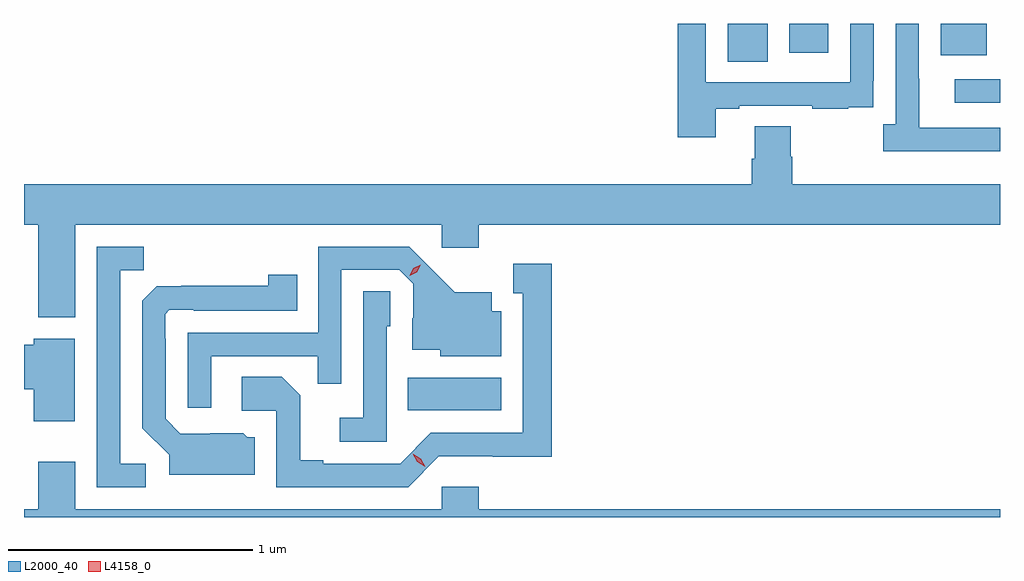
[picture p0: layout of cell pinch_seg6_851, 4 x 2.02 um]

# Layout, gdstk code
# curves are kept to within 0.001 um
import gdstk
lib = gdstk.Library(unit=1e-6, precision=1e-09)
def R(c, l, rs):  # rectangles x0, y0, x1, y1
    for r in rs: c.add(gdstk.rectangle(r[:2], r[2:], *l))
def P(c, l, *ps):  # polygons
    for p in ps: c.add(gdstk.Polygon(p, *l))
L2000_40 = (2000, 40)
L4158_0 = (4158, 0)

pinch_seg6_851 = lib.new_cell('pinch_seg6_851')
R(pinch_seg6_851, L2000_40, [(122.272,915.938,122.656,916.072), (124.515,917.199,124.7,917.295), (123.584,917.368,123.748,917.523), (124.457,917.393,124.645,917.523), (123.836,917.403,123.997,917.523)])
P(pinch_seg6_851, L2000_40, [(123.535,917.175),(123.631,917.175),(123.631,917.187),(123.931,917.187),(123.931,917.175),(124.079,917.175),(124.079,917.181),(124.181,917.181),(124.181,917.29),(124.182,917.29),(124.182,917.523),(124.086,917.523),(124.086,917.283),(123.495,917.283),(123.495,917.523),(123.379,917.523),(123.379,917.058),(123.535,917.058)],
  [(124.7,917.097),(124.369,917.097),(124.369,917.297),(124.368,917.297),(124.368,917.523),(124.272,917.523),(124.272,917.11),(124.221,917.11),(124.221,917),(124.7,917)],
  [(120.91,916.7),(122.412,916.7),(122.412,916.605),(122.564,916.605),(122.564,916.7),(124.7,916.7),(124.7,916.864),(123.848,916.864),(123.848,916.977),(123.843,916.977),(123.843,917.102),(123.695,917.102),(123.695,916.97),(123.683,916.97),(123.683,916.864),(120.7,916.864),(120.7,916.7),(120.758,916.7),(120.758,916.32),(120.91,916.32)],
  [(121.467,916.161),(121.903,916.161),(121.903,916.048),(122.001,916.048),(122.001,916.515),(122.238,916.515),(122.295,916.458),(122.295,916.316),(122.291,916.316),(122.291,916.187),(122.406,916.187),(122.406,916.16),(122.656,916.16),(122.656,916.345),(122.617,916.345),(122.617,916.423),(122.465,916.423),(122.278,916.608),(121.905,916.608),(121.905,916.257),(121.371,916.257),(121.371,915.948),(121.467,915.948)],
  [(121.198,915.72),(121.095,915.72),(121.095,916.513),(121.191,916.513),(121.191,916.608),(120.999,916.608),(120.999,915.624),(121.198,915.624)],
  [(122.4,915.75),(122.863,915.749),(122.863,916.54),(122.705,916.54),(122.705,916.419),(122.744,916.419),(122.744,915.846),(122.367,915.846),(122.241,915.72),(121.927,915.72),(121.927,915.733),(121.833,915.733),(121.833,916),(121.757,916.076),(121.593,916.076),(121.593,915.936),(121.734,915.936),(121.734,915.624),(122.274,915.624)],
  [(121.645,915.828),(121.614,915.828),(121.598,915.844),(121.341,915.843),(121.281,915.903),(121.281,916.232),(121.278,916.232),(121.278,916.332),(121.296,916.35),(121.396,916.35),(121.396,916.347),(121.82,916.347),(121.82,916.495),(121.702,916.495),(121.702,916.448),(121.244,916.447),(121.185,916.388),(121.185,915.866),(121.295,915.756),(121.295,915.674),(121.645,915.674)],
  [(122.187,916.284),(122.202,916.284),(122.202,916.427),(122.091,916.427),(122.091,915.907),(121.995,915.907),(121.995,915.81),(122.187,915.81)],
  [(120.907,916.231),(120.74,916.231),(120.74,916.208),(120.7,916.208),(120.7,916.025),(120.74,916.025),(120.74,915.894),(120.907,915.894)],
  [(124.7,915.532),(122.564,915.532),(122.564,915.625),(122.412,915.625),(122.412,915.532),(120.91,915.532),(120.91,915.727),(120.758,915.727),(120.758,915.532),(120.7,915.532),(120.7,915.5),(124.7,915.5)])
P(pinch_seg6_851, L4158_0, [(122.344,915.708),(122.312,915.727),(122.294,915.76),(122.294,915.76),(122.294,915.76),(122.326,915.741),(122.344,915.708),(122.344,915.708)],
  [(122.28,916.49),(122.28,916.49),(122.296,916.52),(122.327,916.535),(122.327,916.535),(122.327,916.535),(122.31,916.505),(122.28,916.49)])

lib.write_gds('pinch_seg6_851.gds')
